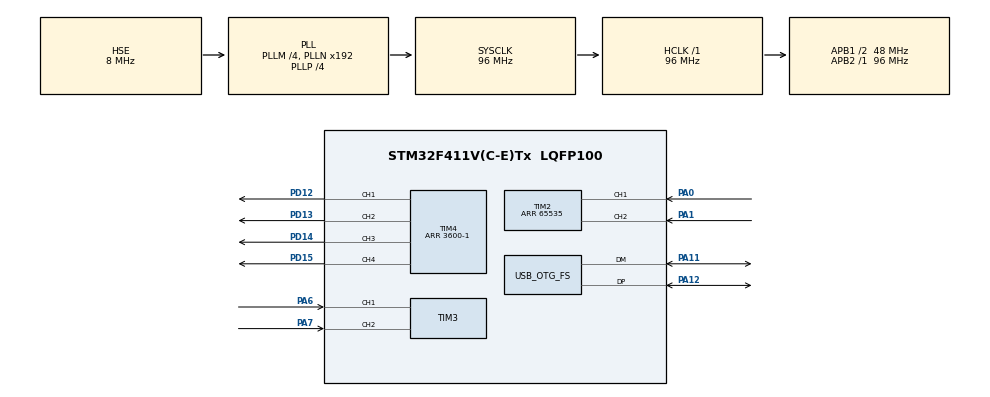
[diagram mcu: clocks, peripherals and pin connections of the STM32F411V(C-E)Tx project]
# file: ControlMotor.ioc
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Mcu.Family=STM32F4
Mcu.Name=STM32F411V(C-E)Tx
Mcu.Package=LQFP100
NVIC.OTG_FS_IRQn=true\:0\:0\:false\:false\:true\:true\:true\:true
NVIC.PriorityGroup=NVIC_PRIORITYGROUP_0
NVIC.TIM2_IRQn=true\:0\:0\:false\:false\:true\:true\:true\:true
NVIC.TIM3_IRQn=true\:0\:0\:false\:false\:true\:true\:true\:true
PA0-WKUP.GPIO_PuPd=GPIO_PULLUP
PA0-WKUP.Signal=S_TIM2_CH1_ETR
PA1.GPIO_PuPd=GPIO_PULLUP
PA1.Signal=S_TIM2_CH2
PA11.Mode=Device_Only
PA11.Signal=USB_OTG_FS_DM
PA12.Mode=Device_Only
PA12.Signal=USB_OTG_FS_DP
PA13.Mode=Serial_Wire
PA13.Signal=SYS_JTMS-SWDIO
PA14.Mode=Serial_Wire
PA14.Signal=SYS_JTCK-SWCLK
PA6.GPIO_PuPd=GPIO_PULLUP
PA6.Signal=S_TIM3_CH1
PA7.GPIO_PuPd=GPIO_PULLUP
PA7.Signal=S_TIM3_CH2
PD12.Signal=S_TIM4_CH1
PD13.Signal=S_TIM4_CH2
PD14.Signal=S_TIM4_CH3
PD15.Signal=S_TIM4_CH4
PH0\ -\ OSC_IN.Mode=HSE-External-Oscillator
PH0\ -\ OSC_IN.Signal=RCC_OSC_IN
PH1\ -\ OSC_OUT.Mode=HSE-External-Oscillator
PH1\ -\ OSC_OUT.Signal=RCC_OSC_OUT
ProjectManager.HeapSize=0x200
ProjectManager.StackSize=0x400
ProjectManager.TargetToolchain=STM32CubeIDE
RCC.48MHZClocksFreq_Value=48000000
RCC.AHBFreq_Value=96000000
RCC.APB1CLKDivider=RCC_HCLK_DIV2
RCC.APB1Freq_Value=48000000
RCC.APB1TimFreq_Value=96000000
RCC.APB2Freq_Value=96000000
RCC.APB2TimFreq_Value=96000000
RCC.CortexFreq_Value=96000000
RCC.HCLKFreq_Value=96000000
RCC.HSE_VALUE=8000000
RCC.HSI_VALUE=16000000
RCC.LSE_VALUE=32768
RCC.PLLI2SM=5
RCC.PLLI2SN=200
RCC.PLLM=4
RCC.PLLP=RCC_PLLP_DIV4
RCC.PLLQ=8
RCC.SYSCLKFreq_VALUE=96000000
RCC.SYSCLKSource=RCC_SYSCLKSOURCE_PLLCLK
RCC.VCOOutputFreq_Value=384000000
SH.S_TIM2_CH1_ETR.0=TIM2_CH1,Encoder_Interface
SH.S_TIM2_CH2.0=TIM2_CH2,Encoder_Interface
SH.S_TIM3_CH1.0=TIM3_CH1,Encoder_Interface
SH.S_TIM3_CH2.0=TIM3_CH2,Encoder_Interface
SH.S_TIM4_CH1.0=TIM4_CH1,PWM Generation1 CH1
SH.S_TIM4_CH2.0=TIM4_CH2,PWM Generation2 CH2
SH.S_TIM4_CH3.0=TIM4_CH3,PWM Generation3 CH3
SH.S_TIM4_CH4.0=TIM4_CH4,PWM Generation4 CH4
TIM2.EncoderMode=TIM_ENCODERMODE_TI12
TIM2.IC1Filter=0
TIM2.IC1Polarity=TIM_ICPOLARITY_FALLING
TIM2.IC2Filter=0
TIM2.IC2Polarity=TIM_ICPOLARITY_FALLING
TIM2.Period=65535
TIM3.EncoderMode=TIM_ENCODERMODE_TI12
TIM3.IC1Polarity=TIM_ICPOLARITY_FALLING
TIM3.IC2Polarity=TIM_ICPOLARITY_FALLING
TIM4.Channel-PWM\ Generation1\ CH1=TIM_CHANNEL_1
TIM4.Channel-PWM\ Generation2\ CH2=TIM_CHANNEL_2
TIM4.Channel-PWM\ Generation3\ CH3=TIM_CHANNEL_3
TIM4.Channel-PWM\ Generation4\ CH4=TIM_CHANNEL_4
TIM4.Period=3600-1
USB_DEVICE.CLASS_NAME_FS=CDC
USB_DEVICE.VirtualMode=Cdc
USB_DEVICE.VirtualModeFS=Cdc_FS
USB_OTG_FS.VirtualMode=Device_Only
VP_TIM4_VS_ClockSourceINT.Mode=Internal
VP_USB_DEVICE_VS_USB_DEVICE_CDC_FS.Mode=CDC_FS
board=STM32F411E-DISCO

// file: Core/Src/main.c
/* USER CODE BEGIN Header */
/**
  ******************************************************************************
  * @file           : main.c
  * @brief          : Main program body
  ******************************************************************************
  * @attention
  *
  * Copyright (c) 2024 STMicroelectronics.
  * All rights reserved.
  *
  * This software is licensed under terms that can be found in the LICENSE file
  * in the root directory of this software component.
  * If no LICENSE file comes with this software, it is provided AS-IS.
  *
  ******************************************************************************
  */
/* USER CODE END Header */
#include "main.h"
#include "usb_device.h"

TIM_HandleTypeDef htim2;
TIM_HandleTypeDef htim3;
TIM_HandleTypeDef htim4;

/* USER CODE BEGIN PV */
uint32_t counter=0;
#define clickVuelta 48
int16_t count; //Permite controlar el overflow. cuando hace overflow cambia de signo
int16_t position[2]={0,0};
float actualSpeed[2][4] = {{0,0,0,0},{0,0,0,0}};
float avgSpeed[2]={0,0};
uint8_t iteradorIndice=0;
uint8_t velocidadActualizada = 0;
int velocityOutput[2]={0,0};
int t=0;
void AverageSpeed(int speed[2][4],int _avgSpeed[2]){
	int i,j;
	for (i=0; i < 2; i++) {
		_avgSpeed[i]=0;
	    for (j=0; j < 4; j++) {
	        _avgSpeed[i] += speed[i][j] / 4;
	    }
	}
}
void HAL_TIM_IC_CaptureCallback(TIM_HandleTypeDef *htim){
	counter=__HAL_TIM_GetCounter(htim);
	count = (int16_t)counter; // To have + and - values (ccw and cw)
	if (htim==&htim2)
	{
		position[0] = count;
	}
	else if(htim==&htim3)
	{
		position[1] = count;
	}

}

void setTimers(int _velocityOutput[2])
{
	//Important to set between 0 and ARR=3599
	//We asume that _velocityOutput[0] TIM24 is the left motor and
	//_velocityOutput[1] the right motor TIM13. If the value is positive
	//the motor drives forward
	if (velocityOutput[0]==0)
	{
		__HAL_TIM_SET_COMPARE(&htim4, TIM_CHANNEL_4, 0);
	    __HAL_TIM_SET_COMPARE(&htim4, TIM_CHANNEL_2, 0);

	}
	else
	{
		if (velocityOutput[0]>0) //Forward
		{
			__HAL_TIM_SET_COMPARE(&htim4, TIM_CHANNEL_4, 0);
			__HAL_TIM_SET_COMPARE(&htim4, TIM_CHANNEL_2, abs(velocityOutput[0]));
		}
		else //Backward
		{
			__HAL_TIM_SET_COMPARE(&htim4, TIM_CHANNEL_4,abs(velocityOutput[0]));
			__HAL_TIM_SET_COMPARE(&htim4, TIM_CHANNEL_2, 0);
		}
	}

	if (velocityOutput[1]==0)
		{
			__HAL_TIM_SET_COMPARE(&htim4, TIM_CHANNEL_3, 0);
			__HAL_TIM_SET_COMPARE(&htim4, TIM_CHANNEL_1, 0);

		}
	else
	{
		if (velocityOutput[1]>0) //Forward
		{
			__HAL_TIM_SET_COMPARE(&htim4, TIM_CHANNEL_3, 0);
			__HAL_TIM_SET_COMPARE(&htim4, TIM_CHANNEL_1, abs(velocityOutput[1]));
		}
		else //Backward
		{
			__HAL_TIM_SET_COMPARE(&htim4, TIM_CHANNEL_3, abs(velocityOutput[1]));
			__HAL_TIM_SET_COMPARE(&htim4, TIM_CHANNEL_1, 0);
		}
	}

}
/* USER CODE END PV */

void SystemClock_Config(void);
static void MX_GPIO_Init(void);
static void MX_TIM2_Init(void);
static void MX_TIM3_Init(void);
static void MX_TIM4_Init(void);

int main(void)
{

  /* MCU Configuration--------------------------------------------------------*/

  /* Reset of all peripherals, Initializes the Flash interface and the Systick. */
  HAL_Init();

  /* Configure the system clock */
  SystemClock_Config();

  /* Initialize all configured peripherals */
  MX_GPIO_Init();
  MX_TIM2_Init();
  MX_TIM3_Init();
  MX_TIM4_Init();
  MX_USB_DEVICE_Init();
  /* USER CODE BEGIN 2 */
  HAL_TIM_Encoder_Start_IT(&htim2, TIM_CHANNEL_ALL);
  HAL_TIM_Encoder_Start_IT(&htim3, TIM_CHANNEL_ALL);
  HAL_TIM_PWM_Start(&htim4, TIM_CHANNEL_1);
  HAL_TIM_PWM_Start(&htim4, TIM_CHANNEL_2);
  HAL_TIM_PWM_Start(&htim4, TIM_CHANNEL_3);
  HAL_TIM_PWM_Start(&htim4, TIM_CHANNEL_4);
  /* USER CODE END 2 */

  /* Infinite loop */
  /* USER CODE BEGIN WHILE */
  while (1)
  {
	  //***************************//
	  velocityOutput[0]=0;
	  velocityOutput[1]=3400;
	//***************************//
	setTimers(velocityOutput);

	if (velocidadActualizada)
	{
		char msg_izq[8];
		char msg_dch[8];
		char valor_izq[7];
		char valor_dch[7];
		char msg[16];
		//sprintf(valor_izq, "%.3f\n", actualSpeed[0][iteradorIndice]);
		//sprintf(valor_dch, "%.3f\n", actualSpeed[1][iteradorIndice]);

//		if (actualSpeed[0][iteradorIndice] >= 0)
//			sprintf(msg_izq, "%s%s", "i+", valor_izq);
//		else
//			sprintf(msg_izq, "%s%s", "i", valor_izq);

//		if (actualSpeed[1][iteradorIndice] >= 0)
//			sprintf(msg_dch, "%s%s", "d+", valor_dch);
//		else
//			sprintf(msg_dch, "%s%s", "d", valor_dch);

		sprintf(msg, "d+%.3f\n", actualSpeed[0][iteradorIndice]);

		CDC_Transmit_FS(msg, sizeof(msg));
		velocidadActualizada = 0;
    }

    /* USER CODE END WHILE */

  }
}

void SystemClock_Config(void)
{
  RCC_OscInitTypeDef RCC_OscInitStruct = {0};
  RCC_ClkInitTypeDef RCC_ClkInitStruct = {0};

  /** Configure the main internal regulator output voltage
  */
  __HAL_RCC_PWR_CLK_ENABLE();
  __HAL_PWR_VOLTAGESCALING_CONFIG(PWR_REGULATOR_VOLTAGE_SCALE1);

  /** Initializes the RCC Oscillators according to the specified parameters
  * in the RCC_OscInitTypeDef structure.
  */
  RCC_OscInitStruct.OscillatorType = RCC_OSCILLATORTYPE_HSE;
  RCC_OscInitStruct.HSEState = RCC_HSE_ON;
  RCC_OscInitStruct.PLL.PLLState = RCC_PLL_ON;
  RCC_OscInitStruct.PLL.PLLSource = RCC_PLLSOURCE_HSE;
  RCC_OscInitStruct.PLL.PLLM = 4;
  RCC_OscInitStruct.PLL.PLLN = 192;
  RCC_OscInitStruct.PLL.PLLP = RCC_PLLP_DIV4;
  RCC_OscInitStruct.PLL.PLLQ = 8;
  if (HAL_RCC_OscConfig(&RCC_OscInitStruct) != HAL_OK)
  {
    Error_Handler();
  }

  /** Initializes the CPU, AHB and APB buses clocks
  */
  RCC_ClkInitStruct.ClockType = RCC_CLOCKTYPE_HCLK|RCC_CLOCKTYPE_SYSCLK
                              |RCC_CLOCKTYPE_PCLK1|RCC_CLOCKTYPE_PCLK2;
  RCC_ClkInitStruct.SYSCLKSource = RCC_SYSCLKSOURCE_PLLCLK;
  RCC_ClkInitStruct.AHBCLKDivider = RCC_SYSCLK_DIV1;
  RCC_ClkInitStruct.APB1CLKDivider = RCC_HCLK_DIV2;
  RCC_ClkInitStruct.APB2CLKDivider = RCC_HCLK_DIV1;

  if (HAL_RCC_ClockConfig(&RCC_ClkInitStruct, FLASH_LATENCY_3) != HAL_OK)
  {
    Error_Handler();
  }
}

static void MX_TIM2_Init(void)
{

  TIM_Encoder_InitTypeDef sConfig = {0};
  TIM_MasterConfigTypeDef sMasterConfig = {0};

  htim2.Instance = TIM2;
  htim2.Init.Prescaler = 0;
  htim2.Init.CounterMode = TIM_COUNTERMODE_UP;
  htim2.Init.Period = 65535;
  htim2.Init.ClockDivision = TIM_CLOCKDIVISION_DIV1;
  htim2.Init.AutoReloadPreload = TIM_AUTORELOAD_PRELOAD_DISABLE;
  sConfig.EncoderMode = TIM_ENCODERMODE_TI12;
  sConfig.IC1Polarity = TIM_ICPOLARITY_FALLING;
  sConfig.IC1Selection = TIM_ICSELECTION_DIRECTTI;
  sConfig.IC1Prescaler = TIM_ICPSC_DIV1;
  sConfig.IC1Filter = 0;
  sConfig.IC2Polarity = TIM_ICPOLARITY_FALLING;
  sConfig.IC2Selection = TIM_ICSELECTION_DIRECTTI;
  sConfig.IC2Prescaler = TIM_ICPSC_DIV1;
  sConfig.IC2Filter = 0;
  if (HAL_TIM_Encoder_Init(&htim2, &sConfig) != HAL_OK)
  {
    Error_Handler();
  }
  sMasterConfig.MasterOutputTrigger = TIM_TRGO_RESET;
  sMasterConfig.MasterSlaveMode = TIM_MASTERSLAVEMODE_DISABLE;
  if (HAL_TIMEx_MasterConfigSynchronization(&htim2, &sMasterConfig) != HAL_OK)
  {
    Error_Handler();
  }

}

static void MX_TIM3_Init(void)
{

  TIM_Encoder_InitTypeDef sConfig = {0};
  TIM_MasterConfigTypeDef sMasterConfig = {0};

  htim3.Instance = TIM3;
  htim3.Init.Prescaler = 0;
  htim3.Init.CounterMode = TIM_COUNTERMODE_UP;
  htim3.Init.Period = 65535;
  htim3.Init.ClockDivision = TIM_CLOCKDIVISION_DIV1;
  htim3.Init.AutoReloadPreload = TIM_AUTORELOAD_PRELOAD_DISABLE;
  sConfig.EncoderMode = TIM_ENCODERMODE_TI12;
  sConfig.IC1Polarity = TIM_ICPOLARITY_FALLING;
  sConfig.IC1Selection = TIM_ICSELECTION_DIRECTTI;
  sConfig.IC1Prescaler = TIM_ICPSC_DIV1;
  sConfig.IC1Filter = 0;
  sConfig.IC2Polarity = TIM_ICPOLARITY_FALLING;
  sConfig.IC2Selection = TIM_ICSELECTION_DIRECTTI;
  sConfig.IC2Prescaler = TIM_ICPSC_DIV1;
  sConfig.IC2Filter = 0;
  if (HAL_TIM_Encoder_Init(&htim3, &sConfig) != HAL_OK)
  {
    Error_Handler();
  }
  sMasterConfig.MasterOutputTrigger = TIM_TRGO_RESET;
  sMasterConfig.MasterSlaveMode = TIM_MASTERSLAVEMODE_DISABLE;
  if (HAL_TIMEx_MasterConfigSynchronization(&htim3, &sMasterConfig) != HAL_OK)
  {
    Error_Handler();
  }

}

static void MX_TIM4_Init(void)
{

  TIM_ClockConfigTypeDef sClockSourceConfig = {0};
  TIM_MasterConfigTypeDef sMasterConfig = {0};
  TIM_OC_InitTypeDef sConfigOC = {0};

  htim4.Instance = TIM4;
  htim4.Init.Prescaler = 0;
  htim4.Init.CounterMode = TIM_COUNTERMODE_UP;
  htim4.Init.Period = 3600-1;
  htim4.Init.ClockDivision = TIM_CLOCKDIVISION_DIV1;
  htim4.Init.AutoReloadPreload = TIM_AUTORELOAD_PRELOAD_DISABLE;
  if (HAL_TIM_Base_Init(&htim4) != HAL_OK)
  {
    Error_Handler();
  }
  sClockSourceConfig.ClockSource = TIM_CLOCKSOURCE_INTERNAL;
  if (HAL_TIM_ConfigClockSource(&htim4, &sClockSourceConfig) != HAL_OK)
  {
    Error_Handler();
  }
  if (HAL_TIM_PWM_Init(&htim4) != HAL_OK)
  {
    Error_Handler();
  }
  sMasterConfig.MasterOutputTrigger = TIM_TRGO_RESET;
  sMasterConfig.MasterSlaveMode = TIM_MASTERSLAVEMODE_DISABLE;
  if (HAL_TIMEx_MasterConfigSynchronization(&htim4, &sMasterConfig) != HAL_OK)
  {
    Error_Handler();
  }
  sConfigOC.OCMode = TIM_OCMODE_PWM1;
  sConfigOC.Pulse = 0;
  sConfigOC.OCPolarity = TIM_OCPOLARITY_HIGH;
  sConfigOC.OCFastMode = TIM_OCFAST_DISABLE;
  if (HAL_TIM_PWM_ConfigChannel(&htim4, &sConfigOC, TIM_CHANNEL_1) != HAL_OK)
  {
    Error_Handler();
  }
  if (HAL_TIM_PWM_ConfigChannel(&htim4, &sConfigOC, TIM_CHANNEL_2) != HAL_OK)
  {
    Error_Handler();
  }
  if (HAL_TIM_PWM_ConfigChannel(&htim4, &sConfigOC, TIM_CHANNEL_3) != HAL_OK)
  {
    Error_Handler();
  }
  if (HAL_TIM_PWM_ConfigChannel(&htim4, &sConfigOC, TIM_CHANNEL_4) != HAL_OK)
  {
    Error_Handler();
  }
  HAL_TIM_MspPostInit(&htim4);

}

static void MX_GPIO_Init(void)
{

  /* GPIO Ports Clock Enable */
  __HAL_RCC_GPIOH_CLK_ENABLE();
  __HAL_RCC_GPIOA_CLK_ENABLE();
  __HAL_RCC_GPIOD_CLK_ENABLE();

}

void Error_Handler(void)
{
  __disable_irq();
  while (1)
  {
  }
}
